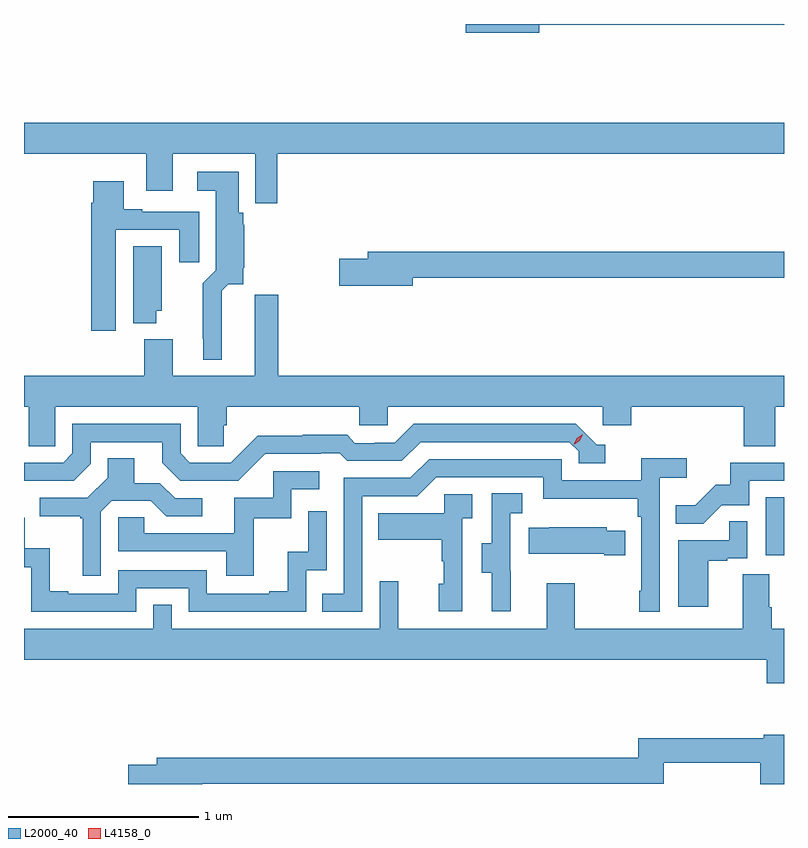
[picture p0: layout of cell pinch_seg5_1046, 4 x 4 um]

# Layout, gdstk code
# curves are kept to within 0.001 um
import gdstk
lib = gdstk.Library(unit=1e-6, precision=1e-09)
def R(c, l, rs):  # rectangles x0, y0, x1, y1
    for r in rs: c.add(gdstk.rectangle(r[:2], r[2:], *l))
def P(c, l, *ps):  # polygons
    for p in ps: c.add(gdstk.Polygon(p, *l))
L2000_40 = (2000, 40)
L4158_0 = (4158, 0)

pinch_seg5_1046 = lib.new_cell('pinch_seg5_1046')
R(pinch_seg5_1046, L2000_40, [(856.67,873.294,856.765,873.601)])
P(pinch_seg5_1046, L2000_40, [(855.478,876.088),(856.765,876.088),(856.765,876.091),(855.09,876.091),(855.09,876.046),(855.478,876.046)],
  [(854.099,875.408),(856.765,875.408),(856.765,875.572),(852.765,875.572),(852.765,875.408),(853.409,875.408),(853.409,875.214),(853.549,875.214),(853.549,875.408),(853.983,875.408),(853.983,875.148),(854.099,875.148)],
  [(853.807,874.688),(853.839,874.721),(853.919,874.721),(853.919,874.802),(853.925,874.808),(853.925,875.034),(853.919,875.034),(853.919,875.097),(853.894,875.097),(853.894,875.314),(853.677,875.314),(853.677,875.213),(853.775,875.213),(853.775,874.796),(853.705,874.726),(853.705,874.435),(853.709,874.435),(853.709,874.325),(853.807,874.325)],
  [(853.249,875.007),(853.583,875.007),(853.583,874.836),(853.687,874.836),(853.687,875.103),(853.387,875.103),(853.387,875.116),(853.291,875.116),(853.291,875.263),(853.13,875.263),(853.13,875.15),(853.118,875.15),(853.118,874.476),(853.249,874.476)],
  [(853.462,874.581),(853.489,874.581),(853.489,874.922),(853.34,874.922),(853.34,874.517),(853.462,874.517)],
  [(854.812,874.756),(856.765,874.756),(856.765,874.892),(854.573,874.892),(854.573,874.856),(854.424,874.856),(854.424,874.714),(854.812,874.714)],
  [(852.93,874.076),(853.68,874.076),(853.68,873.868),(853.817,873.868),(853.817,873.978),(853.832,873.978),(853.832,874.076),(854.529,874.076),(854.529,873.978),(854.679,873.978),(854.679,874.076),(855.81,874.076),(855.81,873.978),(855.962,873.978),(855.962,874.076),(856.553,874.076),(856.553,873.868),(856.718,873.868),(856.718,874.076),(856.765,874.076),(856.765,874.24),(854.102,874.24),(854.102,874.666),(853.979,874.666),(853.979,874.24),(853.549,874.24),(853.549,874.432),(853.397,874.432),(853.397,874.24),(852.765,874.24),(852.765,874.076),(852.791,874.076),(852.791,873.868),(852.93,873.868)],
  [(852.81,873.687),(853.026,873.687),(853.116,873.777),(853.116,873.891),(853.493,873.891),(853.493,873.781),(853.587,873.687),(853.893,873.687),(854.034,873.828),(854.327,873.828),(854.327,873.831),(854.426,873.831),(854.465,873.792),(854.754,873.792),(854.853,873.891),(855.636,873.891),(855.684,873.843),(855.684,873.78),(855.823,873.78),(855.823,873.876),(855.78,873.876),(855.669,873.987),(854.816,873.987),(854.717,873.888),(854.61,873.888),(854.61,873.885),(854.507,873.885),(854.465,873.928),(854.232,873.928),(854.232,873.925),(853.996,873.925),(853.854,873.783),(853.638,873.783),(853.59,873.831),(853.59,873.987),(853.02,873.987),(853.02,873.831),(852.972,873.783),(852.765,873.783),(852.765,873.686)],
  [(853.17,873.525),(853.227,873.582),(853.433,873.582),(853.514,873.501),(853.702,873.501),(853.702,873.594),(853.56,873.594),(853.48,873.674),(853.345,873.674),(853.345,873.806),(853.205,873.806),(853.205,873.704),(853.098,873.597),(852.849,873.597),(852.849,873.5),(853.062,873.5),(853.062,873.489),(853.073,873.489),(853.073,873.186),(853.17,873.186)],
  [(854.544,873.606),(854.835,873.606),(854.934,873.705),(855.498,873.705),(855.498,873.593),(855.994,873.593),(855.994,873.497),(856.014,873.497),(856.014,873.109),(856.002,873.109),(856.002,872.997),(856.11,872.997),(856.11,873.704),(856.252,873.704),(856.252,873.806),(856.013,873.806),(856.013,873.69),(855.594,873.69),(855.594,873.801),(854.897,873.801),(854.798,873.702),(854.448,873.702),(854.448,873.093),(854.335,873.093),(854.335,872.997),(854.544,872.997)],
  [(856.437,873.558),(856.581,873.558),(856.581,873.687),(856.765,873.687),(856.765,873.783),(856.483,873.783),(856.483,873.666),(856.406,873.666),(856.299,873.559),(856.195,873.559),(856.195,873.46),(856.339,873.46)],
  [(853.973,873.489),(854.172,873.489),(854.172,873.642),(854.32,873.642),(854.32,873.738),(854.076,873.738),(854.076,873.597),(853.871,873.597),(853.871,873.411),(853.397,873.411),(853.397,873.495),(853.26,873.495),(853.26,873.315),(853.829,873.315),(853.829,873.186),(853.973,873.186)],
  [(855.326,873.213),(855.324,873.213),(855.324,873.517),(855.388,873.517),(855.388,873.62),(855.228,873.62),(855.228,873.357),(855.173,873.357),(855.173,873.202),(855.227,873.202),(855.227,873),(855.326,873)],
  [(855.072,873.491),(855.124,873.491),(855.124,873.615),(854.976,873.615),(854.976,873.517),(854.629,873.517),(854.629,873.377),(854.964,873.377),(854.964,873.263),(854.974,873.263),(854.974,873.144),(854.948,873.144),(854.948,873),(855.072,873)],
  [(853.356,873.12),(853.632,873.12),(853.632,872.997),(854.25,872.997),(854.25,873.216),(854.358,873.216),(854.358,873.526),(854.262,873.526),(854.262,873.314),(854.153,873.314),(854.153,873.106),(854.057,873.106),(854.057,873.093),(853.728,873.093),(853.728,873.216),(853.26,873.216),(853.26,873.093),(852.997,873.093),(852.997,873.106),(852.901,873.106),(852.901,873.331),(852.768,873.331),(852.768,873.492),(852.765,873.492),(852.765,873.233),(852.804,873.233),(852.804,872.997),(853.356,872.997)],
  [(856.366,873.267),(856.466,873.267),(856.466,873.279),(856.572,873.279),(856.572,873.473),(856.477,873.473),(856.477,873.375),(856.208,873.375),(856.208,873.024),(856.366,873.024)],
  [(855.929,873.424),(855.831,873.424),(855.831,873.442),(855.529,873.442),(855.529,873.439),(855.421,873.439),(855.421,873.302),(855.818,873.302),(855.818,873.295),(855.929,873.295)],
  [(856.765,872.908),(856.7,872.908),(856.7,873.02),(856.687,873.02),(856.687,873.194),(856.547,873.194),(856.547,872.908),(855.663,872.908),(855.663,873.148),(855.515,873.148),(855.515,872.908),(854.735,872.908),(854.735,873.157),(854.637,873.157),(854.637,872.908),(853.542,872.908),(853.542,873.035),(853.446,873.035),(853.446,872.908),(852.765,872.908),(852.765,872.744),(856.673,872.744),(856.673,872.62),(856.765,872.62)],
  [(853.702,872.092),(856.133,872.092),(856.133,872.203),(856.64,872.203),(856.64,872.091),(856.765,872.091),(856.765,872.35),(856.658,872.35),(856.658,872.332),(855.997,872.332),(855.997,872.228),(853.463,872.228),(853.463,872.192),(853.314,872.192),(853.314,872.091),(853.702,872.091)])
P(pinch_seg5_1046, L4158_0, [(855.659,873.878),(855.659,873.878),(855.675,873.911),(855.705,873.931),(855.705,873.931),(855.705,873.93),(855.69,873.898),(855.66,873.878)])

lib.write_gds('pinch_seg5_1046.gds')
